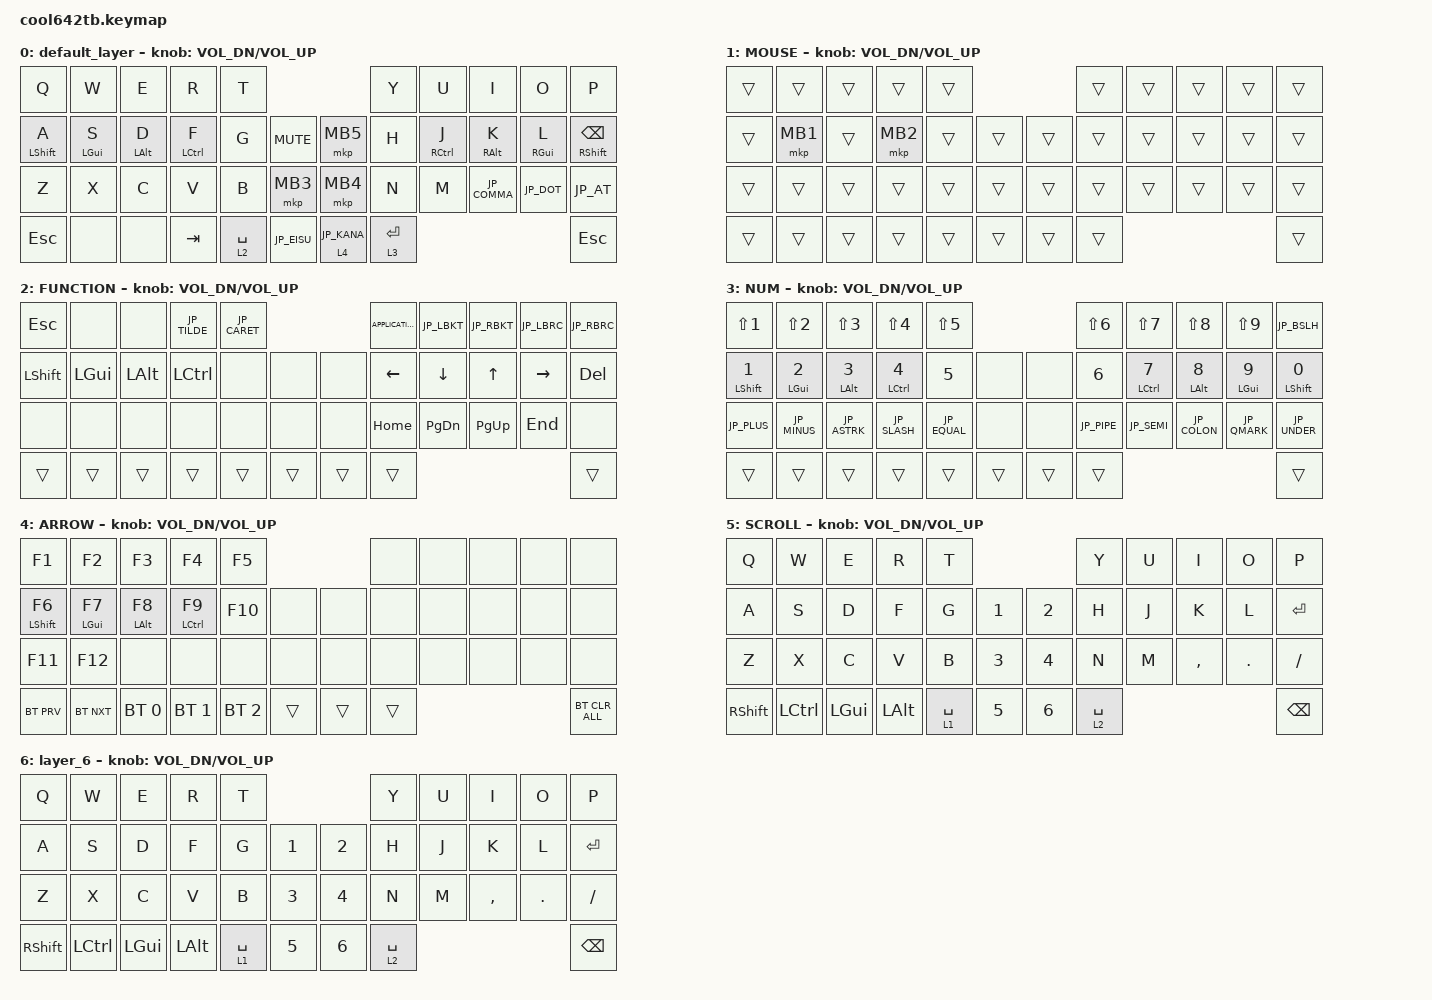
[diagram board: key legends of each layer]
#include <behaviors.dtsi>
#include <dt-bindings/zmk/bt.h>
#include <dt-bindings/zmk/keys.h>
#include <dt-bindings/zmk/pointing.h>
#include "keycode_japanese.h"

// #define MOUSE 4
// #define SCROLL 5
// #define NUM 6

&mt {
    flavor = "balanced";
    quick-tap-ms = <180>;
};

/ {
    combos {
        compatible = "zmk,combos";

        comb1 {
            bindings = <&kp TAB>;
            key-positions = <11 10>;
        };

        comb2 {
            bindings = <&kp ESCAPE>;
            key-positions = <0 1>;
        };

        comb3 {
            bindings = <&caps_word>;
            key-positions = <22 23>;
        };

        comb4 {
            bindings = <&kp DEL>;
            key-positions = <9 8>;
        };
    };

    macros {
        to_layer_0: to_layer_0 {
            compatible = "zmk,behavior-macro-one-param";
            #binding-cells = <1>;
            bindings = <&to 0 &macro_param_1to1 &kp MACRO_PLACEHOLDER>;
            label = "TO_LAYER_0";
        };
    };

    behaviors {
        lt_to_layer_0: lt_to_layer_0 {
            compatible = "zmk,behavior-hold-tap";
            label = "LAYER_TAP_TO_0";
            bindings = <&mo>, <&to_layer_0>;

            #binding-cells = <2>;
            tapping-term-ms = <200>;
        };
    };

    keymap {
        compatible = "zmk,keymap";

        default_layer {
            bindings = <
&kp Q           &kp W                   &kp E         &kp R          &kp T                                                                &kp Y          &kp U        &kp I           &kp O         &kp P
&mt LSHIFT A    &mt LGUI S              &mt LALT D    &mt LCTRL F    &kp G               &kp C_MUTE                &mkp MB5               &kp H          &mt RCTRL J  &mt RALT K      &mt RGUI L    &mt RSHIFT BACKSPACE
&kp Z           &kp X                   &kp C         &kp V          &kp B               &mkp MB3                  &mkp MB4               &kp N          &kp M        &kp JP_COMMA    &kp JP_DOT    &kp JP_AT
&kp ESCAPE      &none                   &none         &kp TAB        &lt 2 SPACE         &kp JP_EISU               &lt 4 JP_KANA          &lt 3 ENTER                                               &kp ESCAPE
            >;

            sensor-bindings = <&inc_dec_kp C_VOL_DN C_VOL_UP>;
        };

        MOUSE {
            bindings = <
&trans           &trans       &trans         &trans          &trans                                      &trans          &trans        &trans          &trans         &trans
&trans           &mkp MB1     &trans         &mkp MB2        &trans         &trans          &trans       &trans          &trans        &trans          &trans         &trans
&trans           &trans       &trans         &trans          &trans         &trans          &trans       &trans          &trans        &trans          &trans         &trans
&trans           &trans       &trans         &trans          &trans         &trans          &trans       &trans                                                       &trans
            >;

            sensor-bindings = <&inc_dec_kp C_VOL_DN C_VOL_UP>;
        };

        FUNCTION {
            bindings = <
&kp ESCAPE       &none        &none         &kp JP_TILDE  &kp JP_CARET                                    &kp K_APPLICATION  &kp JP_LBKT   &kp JP_RBKT           &kp JP_LBRC           &kp JP_RBRC
&kp LSHIFT       &kp LGUI     &kp LALT      &kp LCTRL     &none         &none             &none           &kp LEFT           &kp DOWN      &kp UP                &kp RIGHT             &kp DEL
&none            &none        &none         &none         &none         &none             &none           &kp HOME           &kp PG_DN     &kp PG_UP             &kp END               &none
&trans           &trans       &trans        &trans        &trans        &trans            &trans          &trans                                                                       &trans
            >;

            sensor-bindings = <&inc_dec_kp C_VOL_DN C_VOL_UP>;
        };

        NUM {
            bindings = <
&kp LS(N1)       &kp LS(N2)     &kp LS(N3)         &kp LS(N4)       &kp LS(N5)                                                &kp LS(N6)     &kp LS(N7)       &kp LS(N8)      &kp LS(N9)       &kp JP_BSLH 
&mt LSHIFT N1    &mt LGUI N2    &mt LALT N3        &mt LCTRL N4     &kp N5          &none              &none                  &kp N6         &mt LCTRL N7     &mt LALT N8     &mt LGUI N9      &mt LSHIFT N0
&kp JP_PLUS      &kp JP_MINUS   &kp JP_ASTRK       &kp JP_SLASH     &kp JP_EQUAL    &none              &none                  &kp JP_PIPE    &kp JP_SEMI      &kp JP_COLON    &kp JP_QMARK     &kp JP_UNDER
&trans           &trans         &trans             &trans           &trans          &trans             &trans                 &trans                                                           &trans
            >;

            sensor-bindings = <&inc_dec_kp C_VOL_DN C_VOL_UP>;
        };

        ARROW {
            bindings = <
&kp F1           &kp F2         &kp F3             &kp F4           &kp F5                                                    &none           &none      &none                 &none                 &none
&mt LSHIFT F6    &mt LGUI F7    &mt LALT F8        &mt LCTRL F9     &kp F10         &none              &none                  &none           &none      &none                 &none                 &none
&kp F11          &kp F12        &none              &none            &none           &none              &none                  &none           &none      &none                 &none                 &none
&bt BT_PRV       &bt BT_NXT     &bt BT_SEL 0       &bt BT_SEL 1     &bt BT_SEL 2    &trans             &trans                 &trans                                                                 &bt BT_CLR_ALL
            >;

            sensor-bindings = <&inc_dec_kp C_VOL_DN C_VOL_UP>;
        };

        SCROLL {
            bindings = <
&kp Q       &kp W      &kp E     &kp R     &kp T                        &kp Y        &kp U  &kp I      &kp O       &kp P
&kp A       &kp S      &kp D     &kp F     &kp G        &kp N1  &kp N2  &kp H        &kp J  &kp K      &kp L       &kp ENTER
&kp Z       &kp X      &kp C     &kp V     &kp B        &kp N3  &kp N4  &kp N        &kp M  &kp COMMA  &kp PERIOD  &kp SLASH
&kp RSHIFT  &kp LCTRL  &kp LGUI  &kp LALT  &lt 1 SPACE  &kp N5  &kp N6  &lt 2 SPACE                                &kp BSPC
            >;

            sensor-bindings = <&inc_dec_kp C_VOL_DN C_VOL_UP>;
        };

        layer_6 {
            bindings = <
&kp Q       &kp W      &kp E     &kp R     &kp T                        &kp Y        &kp U  &kp I      &kp O       &kp P
&kp A       &kp S      &kp D     &kp F     &kp G        &kp N1  &kp N2  &kp H        &kp J  &kp K      &kp L       &kp ENTER
&kp Z       &kp X      &kp C     &kp V     &kp B        &kp N3  &kp N4  &kp N        &kp M  &kp COMMA  &kp PERIOD  &kp SLASH
&kp RSHIFT  &kp LCTRL  &kp LGUI  &kp LALT  &lt 1 SPACE  &kp N5  &kp N6  &lt 2 SPACE                                &kp BSPC
            >;

            sensor-bindings = <&inc_dec_kp C_VOL_DN C_VOL_UP>;
        };
    };
};
